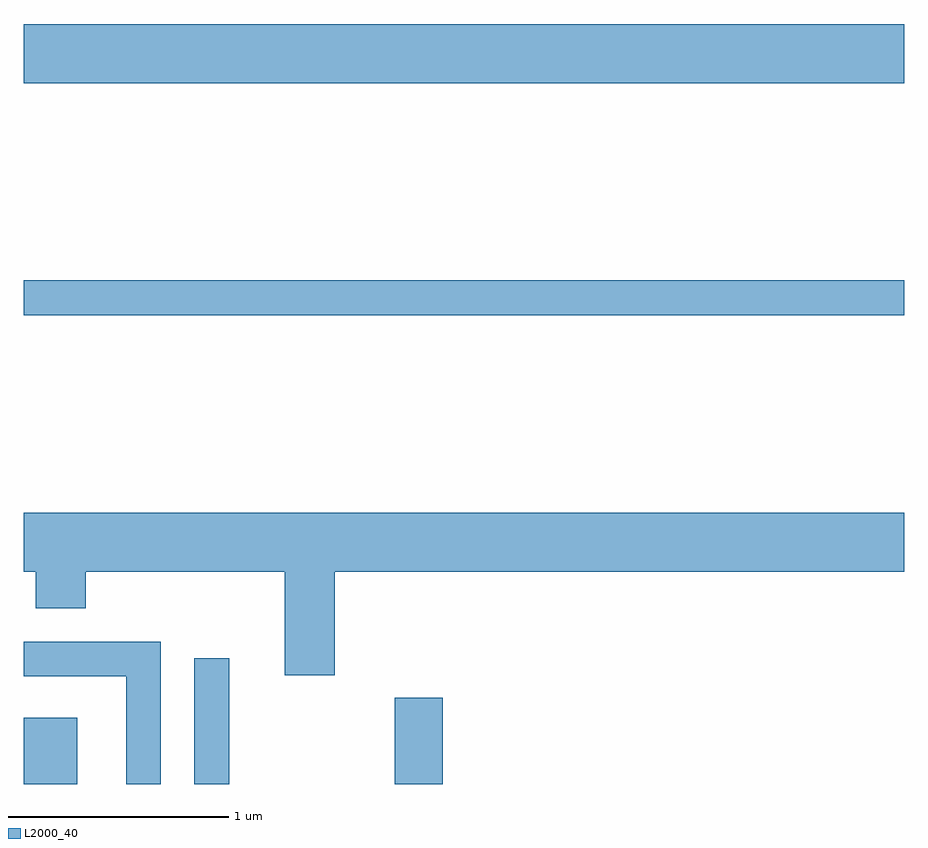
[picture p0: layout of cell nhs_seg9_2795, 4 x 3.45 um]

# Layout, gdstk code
import gdstk
lib = gdstk.Library(unit=1e-6, precision=1e-09)
def R(c, l, rs):  # rectangles x0, y0, x1, y1
    for r in rs: c.add(gdstk.rectangle(r[:2], r[2:], *l))
def P(c, l, *ps):  # polygons
    for p in ps: c.add(gdstk.Polygon(p, *l))
L2000_40 = (2000, 40)

nhs_seg9_2795 = lib.new_cell('nhs_seg9_2795')
R(nhs_seg9_2795, L2000_40, [(267.611,1966.432,267.854,1966.734), (268.386,1966.432,268.544,1967.003), (269.296,1966.432,269.514,1966.824), (267.611,1968.561,271.611,1968.719), (267.611,1969.616,271.611,1969.884)])
P(nhs_seg9_2795, L2000_40, [(269.024,1967.396),(271.611,1967.396),(271.611,1967.664),(267.611,1967.664),(267.611,1967.396),(267.666,1967.396),(267.666,1967.231),(267.894,1967.231),(267.894,1967.396),(268.796,1967.396),(268.796,1966.926),(269.024,1966.926)],
  [(268.234,1967.079),(267.611,1967.079),(267.611,1966.921),(268.076,1966.921),(268.076,1966.432),(268.234,1966.432)])

lib.write_gds('nhs_seg9_2795.gds')
